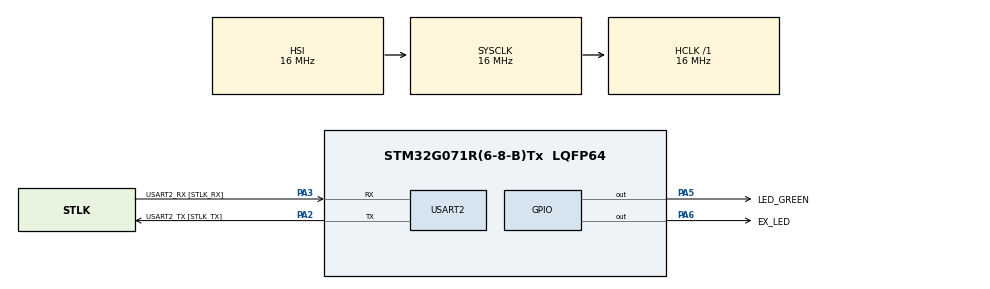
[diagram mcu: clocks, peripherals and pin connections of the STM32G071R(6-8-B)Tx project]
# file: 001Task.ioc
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Mcu.Family=STM32G0
Mcu.Name=STM32G071R(6-8-B)Tx
Mcu.Package=LQFP64
NVIC.TIM6_DAC_LPTIM1_IRQn=true\:3\:0\:false\:false\:true\:false\:true
NVIC.TimeBase=TIM6_DAC_LPTIM1_IRQn
NVIC.TimeBaseIP=TIM6
PA13.GPIO_Label=TMS
PA13.Signal=SYS_SWDIO
PA14-BOOT0.GPIO_Label=TCK
PA14-BOOT0.Signal=SYS_SWCLK
PA2.GPIO_Label=USART2_TX [STLK_TX]
PA2.Mode=Asynchronous
PA2.Signal=USART2_TX
PA3.GPIO_Label=USART2_RX [STLK_RX]
PA3.Mode=Asynchronous
PA3.Signal=USART2_RX
PA5.GPIO_Label=LED_GREEN
PA5.GPIO_Speed=GPIO_SPEED_FREQ_HIGH
PA5.Signal=GPIO_Output
PA6.GPIO_Label=EX_LED
PA6.Signal=GPIO_Output
PC13.Signal=SYS_WKUP2
PC14-OSC32_IN\ (PC14).Signal=RCC_OSC32_IN
PC15-OSC32_OUT\ (PC15).Signal=RCC_OSC32_OUT
PF0-OSC_IN\ (PF0).GPIO_Label=MCO
PF0-OSC_IN\ (PF0).Signal=RCC_OSC_IN
ProjectManager.HeapSize=0x200
ProjectManager.StackSize=0x400
ProjectManager.TargetToolchain=STM32CubeIDE
RCC.AHBFreq_Value=16000000
RCC.CortexFreq_Value=16000000
RCC.EXTERNAL_CLOCK_VALUE=12288000
RCC.HCLKFreq_Value=16000000
RCC.HSE_VALUE=8000000
RCC.HSI_VALUE=16000000
RCC.LSE_VALUE=32768
RCC.SYSCLKFreq_VALUE=16000000
RCC.VCOOutputFreq_Value=128000000
USART2.VirtualMode-Asynchronous=VM_ASYNC
VP_SYS_VS_DBSignals.Mode=DisableDeadBatterySignals
VP_SYS_VS_tim6.Mode=TIM6
board=NUCLEO-G071RB

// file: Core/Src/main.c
/* USER CODE BEGIN Header */
/**
  ******************************************************************************
  * @file           : main.c
  * @brief          : Main program body
  ******************************************************************************
  * @attention
  *
  * <h2><center>&copy; Copyright (c) 2023 STMicroelectronics.
  * All rights reserved.</center></h2>
  *
  * This software component is licensed by ST under BSD 3-Clause license,
  * the "License"; You may not use this file except in compliance with the
  * License. You may obtain a copy of the License at:
  *                        opensource.org/licenses/BSD-3-Clause
  *
  ******************************************************************************
  */
/* USER CODE END Header */
#include "main.h"

/* USER CODE BEGIN Includes */
#include "FreeRTOS.h"
#include "task.h"
/* USER CODE END Includes */

UART_HandleTypeDef huart2;

void SystemClock_Config(void);
static void MX_GPIO_Init(void);
static void MX_USART2_UART_Init(void);
/* USER CODE BEGIN PFP */

static void Taskfunc1(void *parameters);
static void Taskfunc2(void *parameters);

/* USER CODE END PFP */

int main(void)
{
  /* USER CODE BEGIN 1 */

	TaskHandle_t task1_handle;
	TaskHandle_t task2_handle;

	BaseType_t status;

  /* USER CODE END 1 */

  /* MCU Configuration--------------------------------------------------------*/

  /* Reset of all peripherals, Initializes the Flash interface and the Systick. */
  HAL_Init();

  /* Configure the system clock */
  SystemClock_Config();

  /* Initialize all configured peripherals */
  MX_GPIO_Init();
  MX_USART2_UART_Init();
  /* USER CODE BEGIN 2 */

  status = xTaskCreate(Taskfunc1,"Task-1",200,NULL,2,&task1_handle);
  configASSERT(status = pdPASS);

  status = xTaskCreate(Taskfunc2,"Task-2",200,NULL,2,&task2_handle);
  configASSERT(status = pdPASS);

  vTaskStartScheduler();

  /* USER CODE END 2 */

  /* Infinite loop */
  while (1)
  {

  }
}

void SystemClock_Config(void)
{
  RCC_OscInitTypeDef RCC_OscInitStruct = {0};
  RCC_ClkInitTypeDef RCC_ClkInitStruct = {0};
  RCC_PeriphCLKInitTypeDef PeriphClkInit = {0};

  /** Configure the main internal regulator output voltage
  */
  HAL_PWREx_ControlVoltageScaling(PWR_REGULATOR_VOLTAGE_SCALE1);
  /** Initializes the RCC Oscillators according to the specified parameters
  * in the RCC_OscInitTypeDef structure.
  */
  RCC_OscInitStruct.OscillatorType = RCC_OSCILLATORTYPE_HSI;
  RCC_OscInitStruct.HSIState = RCC_HSI_ON;
  RCC_OscInitStruct.HSIDiv = RCC_HSI_DIV1;
  RCC_OscInitStruct.HSICalibrationValue = RCC_HSICALIBRATION_DEFAULT;
  RCC_OscInitStruct.PLL.PLLState = RCC_PLL_NONE;
  if (HAL_RCC_OscConfig(&RCC_OscInitStruct) != HAL_OK)
  {
    Error_Handler();
  }
  /** Initializes the CPU, AHB and APB buses clocks
  */
  RCC_ClkInitStruct.ClockType = RCC_CLOCKTYPE_HCLK|RCC_CLOCKTYPE_SYSCLK
                              |RCC_CLOCKTYPE_PCLK1;
  RCC_ClkInitStruct.SYSCLKSource = RCC_SYSCLKSOURCE_HSI;
  RCC_ClkInitStruct.AHBCLKDivider = RCC_SYSCLK_DIV1;
  RCC_ClkInitStruct.APB1CLKDivider = RCC_HCLK_DIV1;

  if (HAL_RCC_ClockConfig(&RCC_ClkInitStruct, FLASH_LATENCY_0) != HAL_OK)
  {
    Error_Handler();
  }
  /** Initializes the peripherals clocks
  */
  PeriphClkInit.PeriphClockSelection = RCC_PERIPHCLK_USART2;
  PeriphClkInit.Usart2ClockSelection = RCC_USART2CLKSOURCE_PCLK1;
  if (HAL_RCCEx_PeriphCLKConfig(&PeriphClkInit) != HAL_OK)
  {
    Error_Handler();
  }
}

static void MX_USART2_UART_Init(void)
{

  huart2.Instance = USART2;
  huart2.Init.BaudRate = 115200;
  huart2.Init.WordLength = UART_WORDLENGTH_8B;
  huart2.Init.StopBits = UART_STOPBITS_1;
  huart2.Init.Parity = UART_PARITY_NONE;
  huart2.Init.Mode = UART_MODE_TX_RX;
  huart2.Init.HwFlowCtl = UART_HWCONTROL_NONE;
  huart2.Init.OverSampling = UART_OVERSAMPLING_16;
  huart2.Init.OneBitSampling = UART_ONE_BIT_SAMPLE_DISABLE;
  huart2.Init.ClockPrescaler = UART_PRESCALER_DIV1;
  huart2.AdvancedInit.AdvFeatureInit = UART_ADVFEATURE_NO_INIT;
  if (HAL_UART_Init(&huart2) != HAL_OK)
  {
    Error_Handler();
  }
  if (HAL_UARTEx_SetTxFifoThreshold(&huart2, UART_TXFIFO_THRESHOLD_1_8) != HAL_OK)
  {
    Error_Handler();
  }
  if (HAL_UARTEx_SetRxFifoThreshold(&huart2, UART_RXFIFO_THRESHOLD_1_8) != HAL_OK)
  {
    Error_Handler();
  }
  if (HAL_UARTEx_DisableFifoMode(&huart2) != HAL_OK)
  {
    Error_Handler();
  }

}

static void MX_GPIO_Init(void)
{
  GPIO_InitTypeDef GPIO_InitStruct = {0};

  /* GPIO Ports Clock Enable */
  __HAL_RCC_GPIOC_CLK_ENABLE();
  __HAL_RCC_GPIOF_CLK_ENABLE();
  __HAL_RCC_GPIOA_CLK_ENABLE();

  /*Configure GPIO pin Output Level */
  HAL_GPIO_WritePin(GPIOA, LED_GREEN_Pin|EX_LED_Pin, GPIO_PIN_RESET);

  /*Configure GPIO pin : LED_GREEN_Pin */
  GPIO_InitStruct.Pin = LED_GREEN_Pin;
  GPIO_InitStruct.Mode = GPIO_MODE_OUTPUT_PP;
  GPIO_InitStruct.Pull = GPIO_NOPULL;
  GPIO_InitStruct.Speed = GPIO_SPEED_FREQ_HIGH;
  HAL_GPIO_Init(LED_GREEN_GPIO_Port, &GPIO_InitStruct);

  /*Configure GPIO pin : EX_LED_Pin */
  GPIO_InitStruct.Pin = EX_LED_Pin;
  GPIO_InitStruct.Mode = GPIO_MODE_OUTPUT_PP;
  GPIO_InitStruct.Pull = GPIO_NOPULL;
  GPIO_InitStruct.Speed = GPIO_SPEED_FREQ_LOW;
  HAL_GPIO_Init(EX_LED_GPIO_Port, &GPIO_InitStruct);

}

/* USER CODE BEGIN 4 */
static void Taskfunc1(void *parameters)
{
	while(1)
	{
		HAL_UART_Transmit(&huart2, "Hello from Task-1\r\n", sizeof("Hello from Task-1\r\n"), 5);
		HAL_Delay(1);

	}
}

static void Taskfunc2(void *parameters)
{
	while(1)
	{
		HAL_UART_Transmit(&huart2, "Gello from Task-2\r\n", sizeof("Hello from Task-2\r\n"), 5);
		HAL_Delay(1);
	}
}
/* USER CODE END 4 */

void HAL_TIM_PeriodElapsedCallback(TIM_HandleTypeDef *htim)
{
  if (htim->Instance == TIM6) {
    HAL_IncTick();
  }
}

void Error_Handler(void)
{
  __disable_irq();
  while (1)
  {
  }
}

/************************ (C) COPYRIGHT STMicroelectronics *****END OF FILE****/
